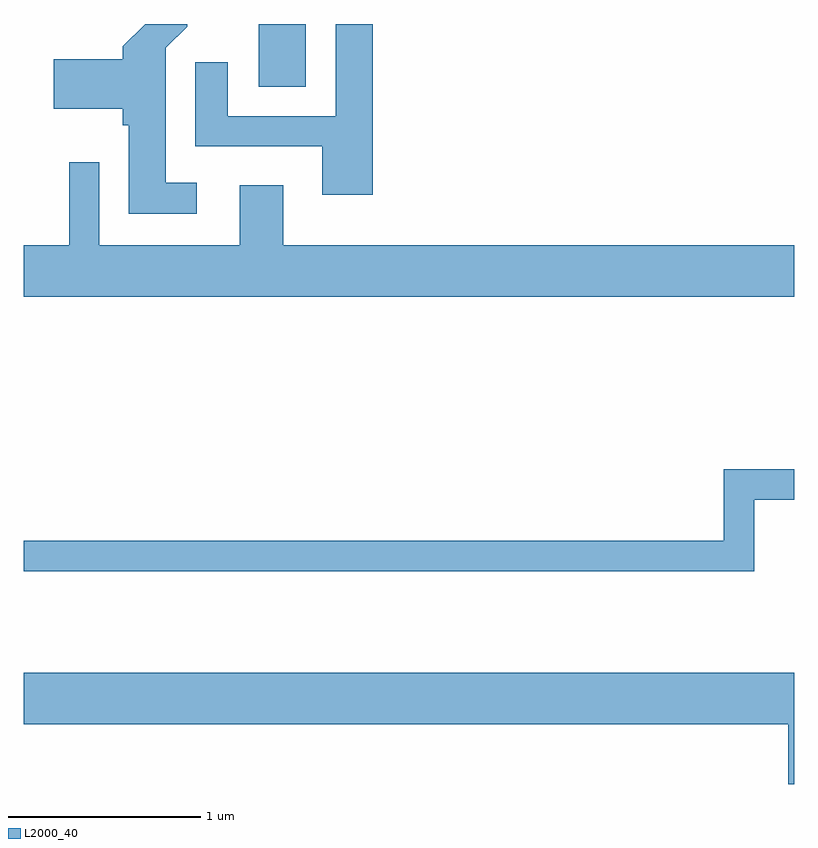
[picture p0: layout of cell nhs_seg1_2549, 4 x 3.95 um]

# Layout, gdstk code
import gdstk
lib = gdstk.Library(unit=1e-6, precision=1e-09)
def R(c, l, rs):  # rectangles x0, y0, x1, y1
    for r in rs: c.add(gdstk.rectangle(r[:2], r[2:], *l))
def P(c, l, *ps):  # polygons
    for p in ps: c.add(gdstk.Polygon(p, *l))
L2000_40 = (2000, 40)

nhs_seg1_2549 = lib.new_cell('nhs_seg1_2549')
R(nhs_seg1_2549, L2000_40, [(264.831,847.386,265.074,847.712)])
P(nhs_seg1_2549, L2000_40, [(264.508,846.889),(264.349,846.889),(264.349,847.589),(264.459,847.699),(264.459,847.712),(264.241,847.712),(264.126,847.597),(264.126,847.529),(263.766,847.529),(263.766,847.271),(264.126,847.271),(264.126,847.186),(264.156,847.186),(264.156,846.726),(264.508,846.726)],
  [(265.424,847.712),(265.231,847.712),(265.231,847.234),(264.669,847.234),(264.669,847.513),(264.501,847.513),(264.501,847.076),(265.161,847.076),(265.161,846.826),(265.424,846.826)],
  [(267.611,846.564),(264.959,846.564),(264.959,846.874),(264.731,846.874),(264.731,846.564),(264.004,846.564),(264.004,846.993),(263.846,846.993),(263.846,846.564),(263.611,846.564),(263.611,846.296),(267.611,846.296)],
  [(267.404,845.241),(267.611,845.241),(267.611,845.399),(267.246,845.399),(267.246,845.029),(263.611,845.029),(263.611,844.871),(267.404,844.871)],
  [(267.611,844.344),(263.611,844.344),(263.611,844.076),(267.581,844.076),(267.581,843.766),(267.611,843.766)])

lib.write_gds('nhs_seg1_2549.gds')
